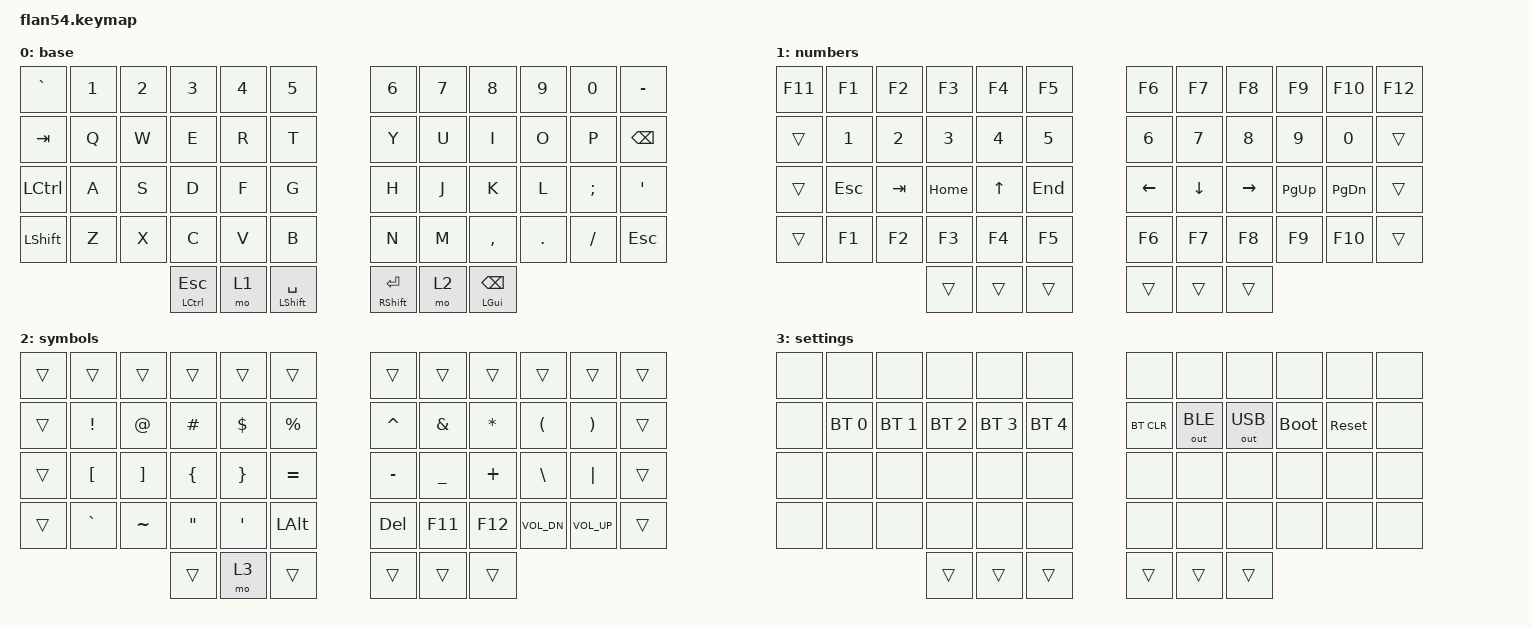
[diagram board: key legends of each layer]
// SPDX-License-Identifier: GPL-3.0-or-later
// Generated by tools/build_variant_firmware.py from design/variants.json; edit the generator.
#include <behaviors.dtsi>
#include <dt-bindings/zmk/keys.h>
#include <dt-bindings/zmk/bt.h>
#include <dt-bindings/zmk/outputs.h>
/ { keymap { compatible = "zmk,keymap";
 base { bindings = <
  &kp GRAVE &kp N1 &kp N2 &kp N3 &kp N4 &kp N5 &kp N6 &kp N7 &kp N8 &kp N9 &kp N0 &kp MINUS
  &kp TAB &kp Q &kp W &kp E &kp R &kp T &kp Y &kp U &kp I &kp O &kp P &kp BSPC
  &kp LCTRL &kp A &kp S &kp D &kp F &kp G &kp H &kp J &kp K &kp L &kp SEMI &kp SQT
  &kp LSHFT &kp Z &kp X &kp C &kp V &kp B &kp N &kp M &kp COMMA &kp DOT &kp FSLH &kp ESC
  &mt LCTRL ESC &mo 1 &mt LSHFT SPACE &mt RSHFT ENTER &mo 2 &mt LGUI BSPC
 >; };
 numbers { bindings = <
  &kp F11 &kp F1 &kp F2 &kp F3 &kp F4 &kp F5 &kp F6 &kp F7 &kp F8 &kp F9 &kp F10 &kp F12
  &trans &kp N1 &kp N2 &kp N3 &kp N4 &kp N5 &kp N6 &kp N7 &kp N8 &kp N9 &kp N0 &trans
  &trans &kp ESC &kp TAB &kp HOME &kp UP &kp END &kp LEFT &kp DOWN &kp RIGHT &kp PG_UP &kp PG_DN &trans
  &trans &kp F1 &kp F2 &kp F3 &kp F4 &kp F5 &kp F6 &kp F7 &kp F8 &kp F9 &kp F10 &trans
  &trans &trans &trans &trans &trans &trans
 >; };
 symbols { bindings = <
  &trans &trans &trans &trans &trans &trans &trans &trans &trans &trans &trans &trans
  &trans &kp EXCL &kp AT &kp HASH &kp DLLR &kp PRCNT &kp CARET &kp AMPS &kp STAR &kp LPAR &kp RPAR &trans
  &trans &kp LBKT &kp RBKT &kp LBRC &kp RBRC &kp EQUAL &kp MINUS &kp UNDER &kp PLUS &kp BSLH &kp PIPE &trans
  &trans &kp GRAVE &kp TILDE &kp DQT &kp SQT &kp LALT &kp DEL &kp F11 &kp F12 &kp C_VOL_DN &kp C_VOL_UP &trans
  &trans &mo 3 &trans &trans &trans &trans
 >; };
 settings { bindings = <
  &none &none &none &none &none &none &none &none &none &none &none &none
  &none &bt BT_SEL 0 &bt BT_SEL 1 &bt BT_SEL 2 &bt BT_SEL 3 &bt BT_SEL 4 &bt BT_CLR &out OUT_BLE &out OUT_USB &bootloader &sys_reset &none
  &none &none &none &none &none &none &none &none &none &none &none &none
  &none &none &none &none &none &none &none &none &none &none &none &none
  &trans &trans &trans &trans &trans &trans
 >; };
}; };
&mt { flavor = "hold-preferred"; tapping-term-ms = <200>; quick-tap-ms = <175>; };
